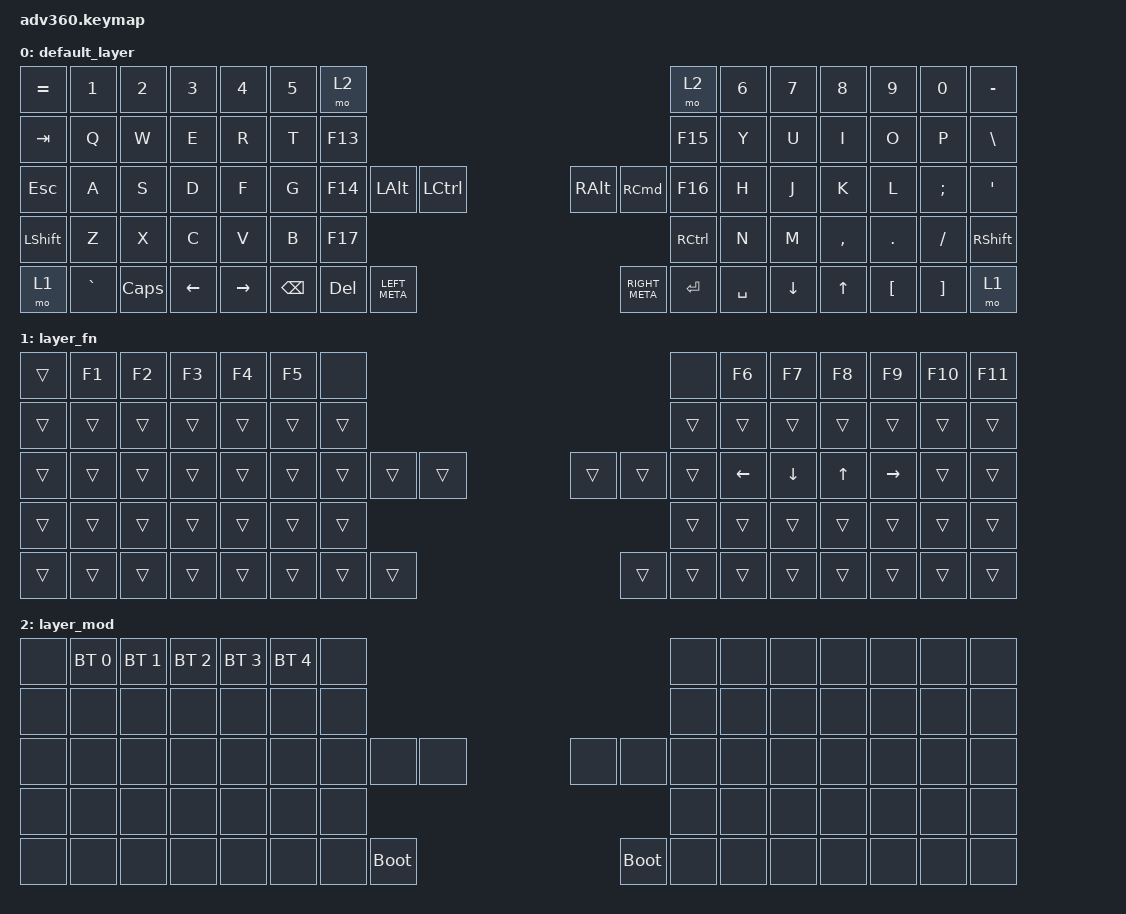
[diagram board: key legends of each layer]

/*
 * Copyright (c) 2020 The ZMK Contributors
 *
 * SPDX-License-Identifier: MIT
 */


/* THIS FILE WAS GENERATED!
 *
 * This file was generated automatically. You may or may not want to
 * edit it directly.
 */

#include <behaviors.dtsi>
#include <dt-bindings/zmk/keys.h>
#include <dt-bindings/zmk/bt.h>

/ {
  behaviors {
    #include "macros.dtsi"
    #include "version.dtsi"

    hm: homerow_mods {
        compatible = "zmk,behavior-hold-tap";
        label = "HOMEROW_MODS";
        #binding-cells = <2>;
        tapping-term-ms = <200>;
        quick_tap_ms = <175>;
        flavor = "tap-preferred";
        bindings = <&kp>, <&kp>;
    };
  };

    keymap {
        compatible = "zmk,keymap";


        default_layer {
            bindings = <
 &kp EQUAL     &kp N1    &kp N2    &kp N3     &kp N4  &kp N5               &mo 2                                                                                        &mo 2  &kp N6    &kp N7     &kp N8    &kp N9    &kp N0  &kp MINUS
   &kp TAB      &kp Q     &kp W     &kp E      &kp R   &kp T             &kp F13                                                                                      &kp F15   &kp Y     &kp U      &kp I     &kp O     &kp P   &kp BSLH
   &kp ESC      &kp A     &kp S     &kp D      &kp F   &kp G             &kp F14  &kp LALT  &kp LEFT_CONTROL                           &kp RALT  &kp RIGHT_COMMAND    &kp F16   &kp H     &kp J      &kp K     &kp L  &kp SEMI    &kp SQT
 &kp LSHFT      &kp Z     &kp X     &kp C      &kp V   &kp B                                         &kp F17                  &kp RIGHT_CONTROL                                 &kp N     &kp M  &kp COMMA   &kp DOT  &kp FSLH  &kp RSHFT
     &mo 1  &kp GRAVE  &kp CAPS  &kp LEFT  &kp RIGHT                    &kp BSPC   &kp DEL     &kp LEFT_META                     &kp RIGHT_META          &kp ENTER  &kp SPACE          &kp DOWN     &kp UP  &kp LBKT  &kp RBKT      &mo 1
            >;
        };

        layer_fn {
            bindings = <
 &trans  &kp F1  &kp F2  &kp F3  &kp F4  &kp F5             &none                                                   &none    &kp F6    &kp F7  &kp F8     &kp F9  &kp F10  &kp F11
 &trans  &trans  &trans  &trans  &trans  &trans            &trans                                                  &trans    &trans    &trans  &trans     &trans   &trans   &trans
 &trans  &trans  &trans  &trans  &trans  &trans            &trans  &trans  &trans                  &trans  &trans  &trans  &kp LEFT  &kp DOWN  &kp UP  &kp RIGHT   &trans   &trans
 &trans  &trans  &trans  &trans  &trans  &trans                            &trans                  &trans                    &trans    &trans  &trans     &trans   &trans   &trans
 &trans  &trans  &trans  &trans  &trans                    &trans  &trans  &trans                  &trans  &trans  &trans              &trans  &trans     &trans   &trans   &trans
            >;
        };

        layer_mod {
            bindings = <
  &none  &bt BT_SEL 0  &bt BT_SEL 1  &bt BT_SEL 2  &bt BT_SEL 3  &bt BT_SEL 4            &none                                                             &none   &none   &none   &none   &none   &none   &none
  &none         &none         &none         &none         &none         &none            &none                                                             &none   &none   &none   &none   &none   &none   &none
  &none         &none         &none         &none         &none         &none            &none   &none        &none                        &none   &none   &none   &none   &none   &none   &none   &none   &none
  &none         &none         &none         &none         &none         &none                                 &none                        &none                   &none   &none   &none   &none   &none   &none
  &none         &none         &none         &none         &none                          &none   &none  &bootloader                  &bootloader   &none   &none           &none   &none   &none   &none   &none
            >;
        };

    };
};
